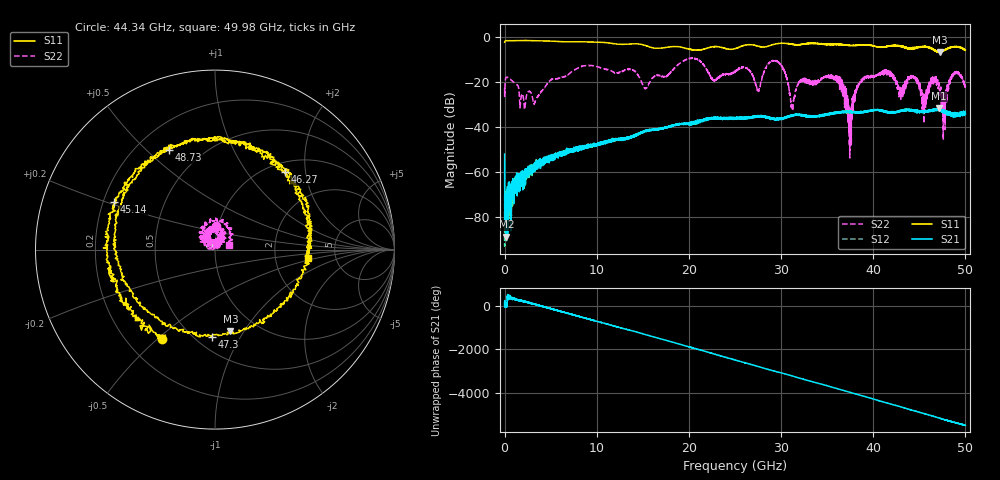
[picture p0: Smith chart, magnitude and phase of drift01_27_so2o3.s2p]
!Created with skrf (http://scikit-rf.org).
# Hz S RI R 50.0
!freq ReS11 ImS11 ReS21 ImS21 ReS12 ImS12 ReS22 ImS22
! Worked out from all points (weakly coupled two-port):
!   10001 points, 300 kHz to 50 GHz, reference 50 ohm
!   highest |S21| = -31.36 dB at 47.09 GHz (marker M1); lowest = -88.6 dB at 185.3 MHz (marker M2)
!   lowest |S11| = -6.7 dB at 47.2 GHz (marker M3), VSWR 2.72, Z = 37.8 - j43.6 ohm
!   |S11| at or under -10 dB: nowhere
!   |S22| runs from -53.6 to -9.2 dB; largest |S21 - S12| = 0.0035
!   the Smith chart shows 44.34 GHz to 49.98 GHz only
!   S11 on the Smith chart (normalised r, x): 44.34 GHz: 0.35, -0.52; 45.14 GHz: 0.24, +0.21; 46.27 GHz: 1.19, +1.54; 47.3 GHz: 0.60, -0.76; 48.73 GHz: 0.33, +0.59; 49.98 GHz: 3.11, -0.42
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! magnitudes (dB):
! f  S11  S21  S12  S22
! 300 kHz  -2.1  -51.9  -70.0  -22.6
! 185.3 MHz  -1.4  -88.6  -75.7  -17.7
! 3.29 GHz  -1.5  -56.8  -57.2  -28.8
! 8.335 GHz  -2.0  -49.3  -48.9  -12.9
! 16.67 GHz  -4.8  -40.4  -40.7  -16.7
! 25 GHz  -5.0  -36.2  -35.7  -15.2
! 29.59 GHz  -2.8  -36.4  -36.4  -10.6
! 31.23 GHz  -3.1  -34.5  -34.7  -31.4
! 33.34 GHz  -2.6  -34.9  -35.2  -20.2
! 36.08 GHz  -3.0  -33.4  -33.8  -18.1
! 37.47 GHz  -3.6  -33.0  -33.3  -36.0
! 38.66 GHz  -3.3  -33.3  -33.2  -20.0
! 41.67 GHz  -3.9  -33.0  -33.2  -15.7
! 44.34 GHz  -4.8  -32.6  -32.5  -17.5
! 45.14 GHz  -4.1  -32.8  -33.1  -23.5
! 46.27 GHz  -4.7  -32.7  -32.3  -19.3
! 47.09 GHz  -6.5  -31.4  -32.2  -21.6
! 47.2 GHz  -6.7  -32.3  -32.1  -23.4
! 47.3 GHz  -6.3  -32.3  -32.7  -22.2
! 48.73 GHz  -4.3  -34.4  -34.4  -16.2
! 49.98 GHz  -5.7  -32.9  -33.3  -21.7
! 50 GHz  -5.7  -33.9  -33.6  -21.8
